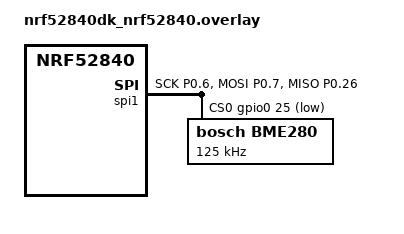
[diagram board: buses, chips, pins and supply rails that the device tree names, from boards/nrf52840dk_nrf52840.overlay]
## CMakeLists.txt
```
# SPDX-License-Identifier: Apache-2.0

cmake_minimum_required(VERSION 3.20.0)
find_package(Zephyr REQUIRED HINTS $ENV{ZEPHYR_BASE})
project(zephyr_sample)

FILE(GLOB app_sources src/*.c)
target_sources(app PRIVATE ${app_sources})
```

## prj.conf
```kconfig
CONFIG_SENSOR=y
CONFIG_SPI=y
CONFIG_ADXL345=y
```

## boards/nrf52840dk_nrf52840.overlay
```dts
/* STEP 2.1 - Create an overlay file for your board */
&i2c0 {	status = "disabled";};
&spi0 {	status = "disabled";};
&i2c1 {	status = "disabled";};

&spi1 {
    compatible = "nordic,nrf-spim";
    status = "okay";
    pinctrl-0 = <&spi1_default>;
    pinctrl-1 = <&spi1_sleep>;
    pinctrl-names = "default", "sleep";
    cs-gpios = <&gpio0 25 GPIO_ACTIVE_LOW>;

    bme280: bme280@0 {
	compatible = "bosch,bme280";
	reg = <0>;
	spi-max-frequency = <125000>;
    };
};
/* STEP 2.2 - Change the pin configuration */

&pinctrl {
    spi1_default: spi1_default {
        group1 {
            psels = <NRF_PSEL(SPIM_SCK, 0, 6)>,
                    <NRF_PSEL(SPIM_MOSI, 0, 7)>,
                    <NRF_PSEL(SPIM_MISO, 0, 26)>;
        };
    };
    spi1_sleep: spi1_sleep {
        group1 {
            psels = <NRF_PSEL(SPIM_SCK, 0, 6)>,
                    <NRF_PSEL(SPIM_MOSI, 0, 7)>,
                    <NRF_PSEL(SPIM_MISO, 0, 26)>;
            low-power-enable;
        };
    };
};
```

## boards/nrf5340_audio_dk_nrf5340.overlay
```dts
&spi2 {
    compatible = "nordic,nrf-spim";
    status = "okay";
    cs-gpios = <&gpio0 5 GPIO_ACTIVE_LOW>;
    pinctrl-0 = <&spi2_default>;
    pinctrl-1 = <&spi2_sleep>;
    pinctrl-names = "default", "sleep";

    adxl345: adxl345@0 {
	compatible = "adi,adxl345";
	reg = <0>;
	spi-max-frequency = <4000000>;
    };
};

&pinctrl {
    spi2_default: spi2_default {
        group1 {
            psels = <NRF_PSEL(SPIM_SCK, 1, 12)>,    // SCK
                    <NRF_PSEL(SPIM_MOSI, 1, 13)>,   // SDA
                    <NRF_PSEL(SPIM_MISO, 1, 14)>;   // SDO
        };
    };
    spi2_sleep: spi2_sleep {
        group1 {
            psels = <NRF_PSEL(SPIM_SCK, 1, 12)>,
                    <NRF_PSEL(SPIM_MOSI, 1, 13)>,
                    <NRF_PSEL(SPIM_MISO, 1, 14)>;
            low-power-enable;
        };
    };
};

// &i2c2 {
// 	status = "okay";
//     pinctrl-0 = <&i2c2_default>;
// 	pinctrl-names = "default";
//     zephyr,concat-buf-size = <2048>;

//     adxl345: adxl345@53 {
//         compatible = "adi,adxl345";
//         reg = <0x53>;
//         label = "ADX1345";
//     };
// };

// &pinctrl {
// 	i2c2_default: i2c2_default {
//         group1 {
//             psels = <NRF_PSEL(TWIM_SCL, 0, 4)>, 
//                     <NRF_PSEL(TWIM_SDA, 0, 5)>;
//         };
// 	};
// };

&pwm0 {
    status = "disabled";
};
```

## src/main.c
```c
/*
 * Copyright (c) 2012-2014 Wind River Systems, Inc.
 * Copyright (c) 2021 Nordic Semiconductor ASA
 *
 * SPDX-License-Identifier: Apache-2.0
 */

#include <stdio.h>
#include <stdlib.h>
#include <zephyr/kernel.h>
#include <zephyr/device.h>
#include <zephyr/devicetree.h>
#include <zephyr/drivers/sensor.h>
#include <zephyr/sys/util_macro.h>

const struct device *const dev = DEVICE_DT_GET(DT_NODELABEL(adxl345));

static const enum sensor_channel channels[] = {
	SENSOR_CHAN_ACCEL_X,
	SENSOR_CHAN_ACCEL_Y,
	SENSOR_CHAN_ACCEL_Z,
};

int main(void)
{	
	if (dev == NULL) {
		printk("\nError: no device found.\n");
		return NULL;
	}

	if (!device_is_ready(dev)) {
		printk("\nError: Device \"%s\" is not ready; ", dev->name);
		return NULL;
	}

	printk("Found device \"%s\", getting sensor data\n", dev->name);

	while (1) {
		int ret;
		struct sensor_value accel[3];
		
		ret = sensor_sample_fetch(dev);
		if (ret < 0) {
			printk("%s: sensor_sample_fetch() failed: %d\n", dev->name, ret);
			return ret;
		}
		
		for (size_t i = 0; i < ARRAY_SIZE(channels); i++) {
			ret = sensor_channel_get(dev, channels[i], &accel[i]);
			if (ret < 0) {
				printk("%s: sensor_channel_get(%c) failed: %d\n", dev->name, 'X' + i, ret);
				return ret;
			}
		}

		printk("%16s [m/s^2]:    (%d, %d, %d)\n", dev->name,
	       &accel[0], &accel[1], &accel[2]);

		k_sleep(K_MSEC(1000));
	}
	return 0;
}
```
